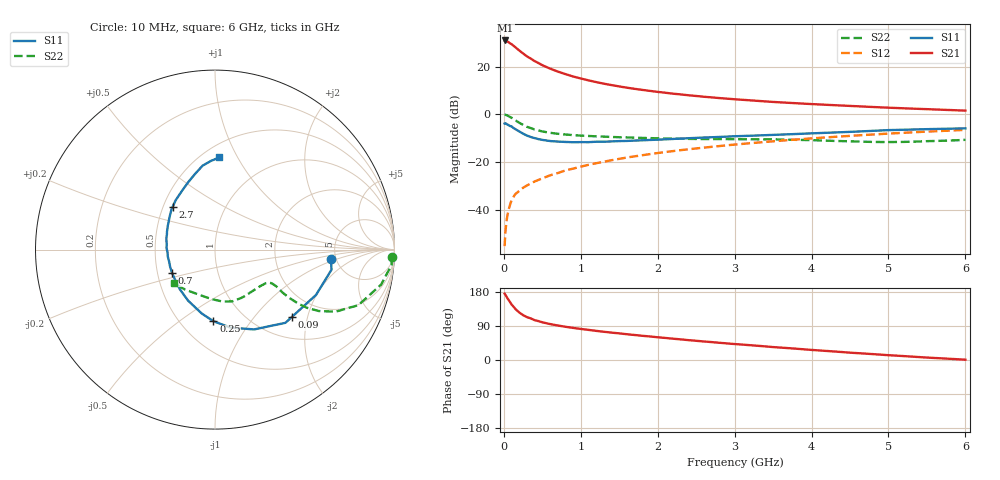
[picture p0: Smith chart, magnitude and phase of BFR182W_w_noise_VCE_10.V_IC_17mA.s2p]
! Infineon Technologies  Discrete & RF Semiconductors
! BFR182W
! VCE =  10. V,  IC =  17 mA
! Common Emitter S-Parameters:  Jan 2017
# GHz  S  MA  R  50
!  f  S11  S21  S12  S22
! GHz  MAG  ANG  MAG  ANG  MAG  ANG  MAG  ANG
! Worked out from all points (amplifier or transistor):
!   77 points, 10 MHz to 6 GHz, reference 50 ohm
!   highest |S21| = 30.9 dB at 20 MHz (marker M1)
!   |S21| within 3 dB of that: start of sweep to 156.4 MHz
!   unconditionally stable (mu >= 1): 889.5 MHz to 2.474 GHz
!   at 130 MHz: K = 0.38, MSG = 31.3 dB, |S12| = -34.2 dB
!   at 2.2 GHz: K = 1.01, MAG = 11.3 dB, |S12| = -15.2 dB
!   at 6 GHz: K = 0.87, MSG = 4.0 dB, |S12| = -6.4 dB
!   lowest NFmin = 1.32 dB at 450 MHz
!   S11 on the Smith chart (normalised r, x): 10 MHz: 4.53, -0.83; 90 MHz: 1.43, -1.60; 250 MHz: 0.71, -0.68; 700 MHz: 0.60, -0.17; 2.7 GHz: 0.56, +0.30; 6 GHz: 0.61, +0.84
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0.01  0.6486 -4.7  34.88 175.1  0.0018 78.0  0.986 -2.3
0.02  0.6586 -9.8  34.92 172.0  0.0035 88.8  0.9875 -5.0
0.05  0.6168 -24.2  33.07 161.7  0.0084 78.6  0.946 -11.9
0.09  0.5691 -41.5  29.87 149.8  0.0146 73.5  0.8723 -19.2
0.1  0.566 -46.1  29.29 146.5  0.0161 72.8  0.8563 -21.2
0.15  0.4953 -63.9  25.21 134.5  0.022 67.5  0.7562 -27.2
0.2  0.4426 -78.9  21.6 125.5  0.0255 64.8  0.6726 -30.6
0.25  0.3989 -91.3  18.71 118.4  0.0297 64.0  0.607 -32.3
0.3  0.3637 -101.7  16.32 113.2  0.0331 63.8  0.5545 -33.0
0.4  0.3217 -117.7  12.97 105.2  0.0401 64.7  0.4866 -33.0
0.5  0.2958 -131.2  10.66 99.5  0.0466 66.0  0.4434 -32.4
0.6  0.2797 -142.1  9.064 94.9  0.0538 66.5  0.4156 -31.5
0.7  0.2726 -151.0  7.854 91.1  0.06 68.0  0.3964 -30.9
0.9  0.2641 -165.4  6.199 84.7  0.0744 69.0  0.3718 -30.7
1.1  0.2651 -177.2  5.144 79.5  0.0893 69.4  0.3566 -31.2
1.5  0.2788 166.2  3.843 70.2  0.1188 69.2  0.3359 -34.5
2.1  0.3034 148.0  2.836 58.2  0.165 66.4  0.3161 -43.7
2.7  0.3355 134.6  2.272 47.3  0.2116 62.8  0.3075 -55.8
3.1  0.356 126.5  2.024 40.7  0.2437 59.9  0.305 -63.8
4.1  0.41 110.2  1.619 25.2  0.3256 51.8  0.2882 -84.1
5.1  0.4765 97.3  1.365 11.5  0.4075 42.5  0.2671 -113.5
6  0.5141 87.3  1.204 0.8  0.4779 33.6  0.2962 -140.8
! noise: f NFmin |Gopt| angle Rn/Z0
0.45  1.32  0.06  165  0.15
0.9  1.38  0.07  166  0.15
1.9  1.89  0.25  -146  0.15
2.4  2.15  0.25  -131  0.24
